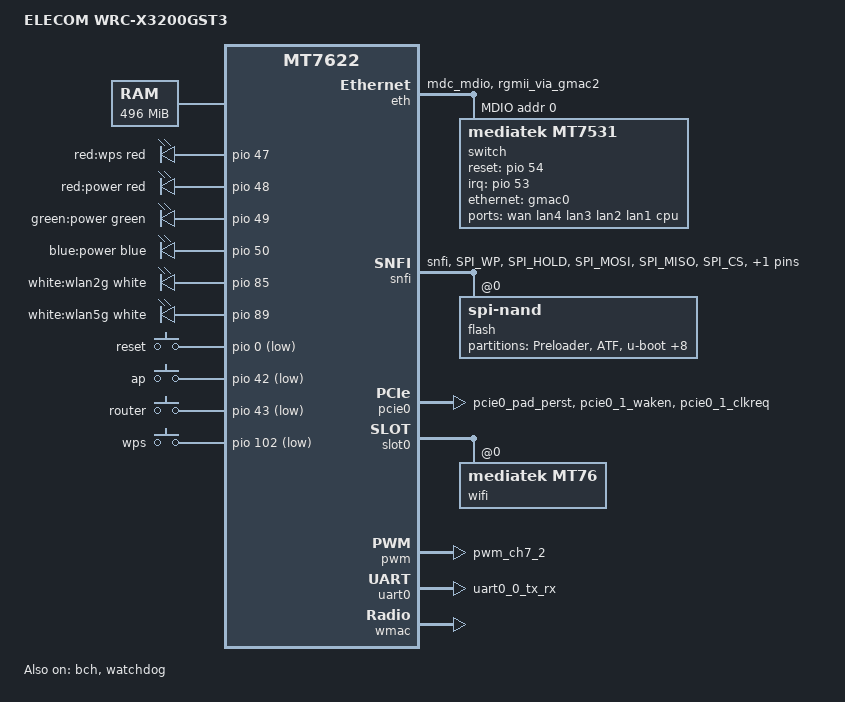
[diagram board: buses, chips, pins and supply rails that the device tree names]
// SPDX-License-Identifier: GPL-2.0-or-later OR MIT
/dts-v1/;

#include <dt-bindings/input/input.h>
#include <dt-bindings/gpio/gpio.h>
#include <dt-bindings/leds/common.h>

#include "mt7622.dtsi"
#include "mt6380.dtsi"

/ {
	model = "ELECOM WRC-X3200GST3";
	compatible = "elecom,wrc-x3200gst3", "mediatek,mt7622";

	aliases {
		serial0 = &uart0;
		led-boot = &led_power_green;
		led-failsafe = &led_power_red;
		led-running = &led_power_green;
		led-upgrade = &led_power_green;
		label-mac-device = &wan;
	};

	chosen {
		bootargs = "earlycon=uart8250,mmio32,0x11002000 console=ttyS0,115200n8 swiotlb=512";
	};

	memory {
		reg = <0 0x40000000 0 0x1f000000>;
	};

	leds {
		compatible = "gpio-leds";

		led-0 {
			label = "red:wps";
			gpios = <&pio 47 GPIO_ACTIVE_HIGH>;
			color = <LED_COLOR_ID_RED>;
			function = LED_FUNCTION_WPS;
		};

		led_power_red: led-1 {
			label = "red:power";
			gpios = <&pio 48 GPIO_ACTIVE_HIGH>;
			color = <LED_COLOR_ID_RED>;
			function = LED_FUNCTION_POWER;
			function-enumerator = <1>;
		};

		led_power_green: led-2 {
			label = "green:power";
			gpios = <&pio 49 GPIO_ACTIVE_HIGH>;
			color = <LED_COLOR_ID_GREEN>;
			function = LED_FUNCTION_POWER;
			function-enumerator = <2>;
		};

		led-3 {
			label = "blue:power";
			gpios = <&pio 50 GPIO_ACTIVE_HIGH>;
			color = <LED_COLOR_ID_BLUE>;
			function = LED_FUNCTION_POWER;
			function-enumerator = <3>;
		};

		led-4 {
			label = "white:wlan2g";
			gpios = <&pio 85 GPIO_ACTIVE_HIGH>;
			color = <LED_COLOR_ID_WHITE>;
			function = LED_FUNCTION_WLAN;
			function-enumerator = <1>;
			linux,default-trigger = "phy0tpt";
		};

		led-5 {
			label = "white:wlan5g";
			gpios = <&pio 89 GPIO_ACTIVE_HIGH>;
			color = <LED_COLOR_ID_WHITE>;
			function = LED_FUNCTION_WLAN;
			function-enumerator = <2>;
			linux,default-trigger = "phy1radio";
		};
	};

	keys {
		compatible = "gpio-keys";

		reset {
			label = "reset";
			gpios = <&pio 0 GPIO_ACTIVE_LOW>;
			linux,code = <KEY_RESTART>;
		};

		ap {
			label = "ap";
			gpios = <&pio 42 GPIO_ACTIVE_LOW>;
			linux,code = <BTN_0>;
			linux,input-type = <EV_SW>;
		};

		router {
			label = "router";
			gpios = <&pio 43 GPIO_ACTIVE_LOW>;
			linux,code = <BTN_1>;
			linux,input-type = <EV_SW>;
		};

		wps {
			label = "wps";
			gpios = <&pio 102 GPIO_ACTIVE_LOW>;
			linux,code = <KEY_WPS_BUTTON>;
		};
	};
};

&cpu0 {
	proc-supply = <&mt6380_vcpu_reg>;
	sram-supply = <&mt6380_vm_reg>;
};

&cpu1 {
	proc-supply = <&mt6380_vcpu_reg>;
	sram-supply = <&mt6380_vm_reg>;
};

&pio {
	eth_pins: eth-pins {
		mux {
			function = "eth";
			groups = "mdc_mdio", "rgmii_via_gmac2";
		};
	};

	pcie0_pins: pcie0-pins {
		mux {
			function = "pcie";
			groups = "pcie0_pad_perst",
				 "pcie0_1_waken",
				 "pcie0_1_clkreq";
		};
	};

	pmic_bus_pins: pmic-bus-pins {
		mux {
			function = "pmic";
			groups = "pmic_bus";
		};
	};

	pwm7_pins: pwm1-2-pins {
		mux {
			function = "pwm";
			groups = "pwm_ch7_2";
		};
	};

	/* Serial NAND is shared pin with SPI-NOR */
	serial_nand_pins: serial-nand-pins {
		mux {
			function = "flash";
			groups = "snfi";
		};

		conf-cmd-data {
			pins = "SPI_WP", "SPI_HOLD", "SPI_MOSI",
			       "SPI_MISO", "SPI_CS";
			drive-strength = <16>;
			bias-pull-up;
		};

		conf-clk {
			pins = "SPI_CLK";
			drive-strength = <16>;
			bias-pull-down;
		};
	};

	uart0_pins: uart0-pins {
		mux {
			function = "uart";
			groups = "uart0_0_tx_rx" ;
		};
	};

	watchdog_pins: watchdog-pins {
		mux {
			function = "watchdog";
			groups = "watchdog";
		};
	};
};

&eth {
	pinctrl-names = "default";
	pinctrl-0 = <&eth_pins>;
	status = "okay";

	gmac0: mac@0 {
		compatible = "mediatek,eth-mac";
		reg = <0>;

		phy-connection-type = "2500base-x";

		nvmem-cells = <&macaddr_factory_7fff4>;
		nvmem-cell-names = "mac-address";

		fixed-link {
			speed = <2500>;
			full-duplex;
			pause;
		};
	};

	mdio-bus {
		#address-cells = <1>;
		#size-cells = <0>;

		switch@0 {
			compatible = "mediatek,mt7531";
			reg = <0>;
			interrupt-controller;
			#interrupt-cells = <1>;
			interrupt-parent = <&pio>;
			interrupts = <53 IRQ_TYPE_LEVEL_HIGH>;
			reset-gpios = <&pio 54 GPIO_ACTIVE_HIGH>;

			ports {
				#address-cells = <1>;
				#size-cells = <0>;

				wan: port@0 {
					reg = <0>;
					label = "wan";

					nvmem-cells = <&macaddr_factory_7fffa>;
					nvmem-cell-names = "mac-address";
				};

				port@1 {
					reg = <1>;
					label = "lan4";
				};

				port@2 {
					reg = <2>;
					label = "lan3";
				};

				port@3 {
					reg = <3>;
					label = "lan2";
				};

				port@4 {
					reg = <4>;
					label = "lan1";
				};

				port@6 {
					reg = <6>;
					label = "cpu";
					ethernet = <&gmac0>;
					phy-mode = "2500base-x";

					fixed-link {
						speed = <2500>;
						full-duplex;
						pause;
					};
				};
			};
		};
	};
};

&bch {
	status = "okay";
};

&snfi {
	pinctrl-names = "default";
	pinctrl-0 = <&serial_nand_pins>;
	status = "okay";

	flash@0 {
		compatible = "spi-nand";
		reg = <0>;
		spi-tx-bus-width = <4>;
		spi-rx-bus-width = <4>;
		nand-ecc-engine = <&snfi>;
		mediatek,bmt-v2;
		mediatek,bmt-table-size = <0x1000>;
		mediatek,bmt-remap-range = <0x0 0x8c0000>,
					   <0x1bc0000 0x30c0000>;

		partitions {
			compatible = "fixed-partitions";
			#address-cells = <1>;
			#size-cells = <1>;

			partition@0 {
				label = "Preloader";
				reg = <0x0 0x80000>;
				read-only;
			};

			partition@80000 {
				label = "ATF";
				reg = <0x80000 0x40000>;
				read-only;
			};

			partition@c0000 {
				label = "u-boot";
				reg = <0xc0000 0x80000>;
				read-only;
			};

			partition@140000 {
				label = "u-boot-env";
				reg = <0x140000 0x80000>;
				read-only;
			};

			factory: partition@1c0000 {
				label = "factory";
				reg = <0x1c0000 0x100000>;
				read-only;

				nvmem-layout {
					compatible = "fixed-layout";
					#address-cells = <1>;
					#size-cells = <1>;

					macaddr_factory_4: macaddr@4 {
						compatible = "mac-base";
						reg = <0x4 0x6>;
						#nvmem-cell-cells = <1>;
					};

					macaddr_factory_7fff4: macaddr@7fff4 {
						reg = <0x7fff4 0x6>;
					};

					macaddr_factory_7fffa: macaddr@7fffa {
						reg = <0x7fffa 0x6>;
					};
				};
			};

			partition@2c0000 {
				label = "kernel";
				reg = <0x2c0000 0x600000>;
			};

			partition@8c0000 {
				label = "ubi";
				reg = <0x8c0000 0x1300000>;
			};

			partition@1bc0000 {
				label = "tm_pattern";
				reg = <0x1bc0000 0x500000>;
				read-only;
			};

			partition@20c0000 {
				label = "tm_key";
				reg = <0x20c0000 0x100000>;
				read-only;
			};

			partition@21c0000 {
				label = "user_data";
				reg = <0x21c0000 0xf00000>;
				read-only;
			};

			partition@30c0000 {
				label = "reserved";
				reg = <0x30c0000 0x4f40000>;
				read-only;
			};
		};
	};
};

&pcie0 {
	pinctrl-names = "default";
	pinctrl-0 = <&pcie0_pins>;
	status = "okay";
};

&slot0 {
	status = "okay";

	wifi@0,0 {
		compatible = "mediatek,mt76";
		reg = <0x0000 0 0 0 0>;
		mediatek,mtd-eeprom = <&factory 0x5000>;
		ieee80211-freq-limit = <5000000 6000000>;
		nvmem-cells = <&macaddr_factory_4 1>;
		nvmem-cell-names = "mac-address";
	};
};

&pwm {
	pinctrl-names = "default";
	pinctrl-0 = <&pwm7_pins>;
	status = "okay";
};

&pwrap {
	pinctrl-names = "default";
	pinctrl-0 = <&pmic_bus_pins>;
	status = "okay";
};

&rtc {
	status = "disabled";
};

&uart0 {
	pinctrl-names = "default";
	pinctrl-0 = <&uart0_pins>;
	status = "okay";
};

&watchdog {
	pinctrl-names = "default";
	pinctrl-0 = <&watchdog_pins>;
	status = "okay";
};

&wmac {
	status = "okay";

	mediatek,mtd-eeprom = <&factory 0x0>;
};
